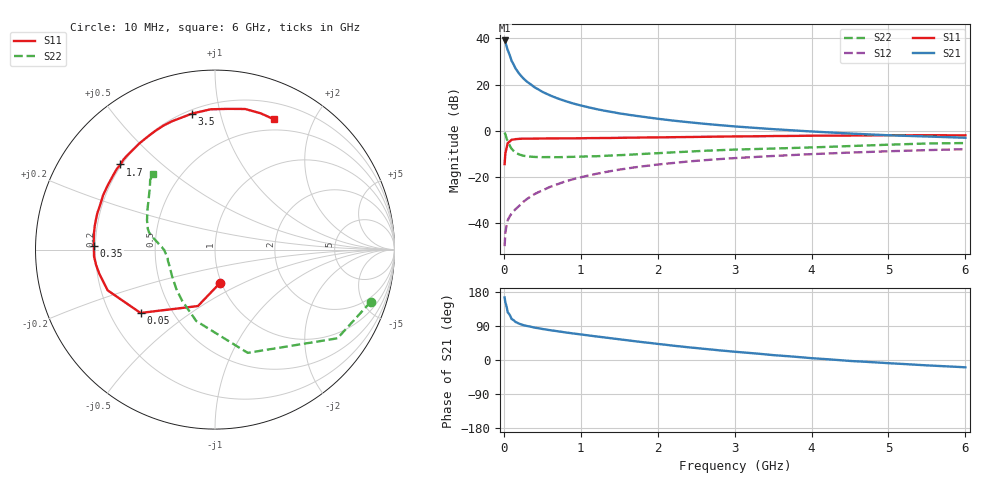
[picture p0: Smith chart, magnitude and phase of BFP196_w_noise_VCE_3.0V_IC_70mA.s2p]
! (c) 2017  Infineon Technologies AG, Munich
! Infineon Technologies  Discrete & RF Semiconductors
! BFP196
! VCE =  3.0 V,  IC =  70 mA
! Common Emitter S-Parameters:  Jan 2017
# GHz  S  MA  R  50
!  f  S11  S21  S12  S22
! GHz  MAG  ANG  MAG  ANG  MAG  ANG  MAG  ANG
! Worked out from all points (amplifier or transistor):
!   77 points, 10 MHz to 6 GHz, reference 50 ohm
!   highest |S21| = 39.0 dB at 10 MHz (marker M1)
!   |S21| within 3 dB of that: start of sweep to 39.58 MHz
!   unconditionally stable (mu >= 1): 449 MHz to 2.497 GHz
!   at 130 MHz: K = 0.72, MSG = 31.6 dB, |S12| = -34.7 dB
!   at 2.2 GHz: K = 1.01, MAG = 8.5 dB, |S12| = -13.9 dB
!   at 6 GHz: K = 0.96, MSG = 2.5 dB, |S12| = -7.9 dB
!   lowest NFmin = 1.68 dB at 450 MHz
!   S11 on the Smith chart (normalised r, x): 10 MHz: 0.98, -0.38; 50 MHz: 0.33, -0.33; 350 MHz: 0.19, +0.02; 1.7 GHz: 0.19, +0.37; 3.5 GHz: 0.22, +0.82; 6 GHz: 0.37, +1.48
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0.01  0.1902 -82.3  89.55 164.9  0.0032 77.5  0.9161 -18.4
0.02  0.3284 -106.8  82.59 151.7  0.0063 72.1  0.8426 -35.9
0.05  0.5447 -139.6  55.67 125.8  0.0116 57.9  0.6036 -72.4
0.1  0.6396 -159.2  32.66 108.3  0.0162 56.9  0.4111 -104.8
0.15  0.6583 -168.1  22.5 100.7  0.02 58.7  0.3385 -122.8
0.2  0.6683 -172.8  17.08 95.8  0.0238 62.8  0.3071 -134.7
0.25  0.6749 -176.8  13.75 92.3  0.0288 64.6  0.2896 -142.6
0.3  0.6746 -179.5  11.5 89.8  0.0334 65.6  0.2806 -148.8
0.35  0.6754 178.2  10.09 87.9  0.0381 67.1  0.2754 -152.7
0.4  0.6773 176.0  8.689 85.4  0.0428 68.2  0.2716 -156.8
0.5  0.6805 172.1  6.955 81.9  0.0513 68.8  0.269 -162.3
0.6  0.6829 168.9  5.824 78.7  0.0611 69.2  0.2696 -166.5
0.8  0.6864 162.8  4.382 72.8  0.0805 68.5  0.2706 -171.9
1.1  0.693 154.2  3.213 64.9  0.1079 65.1  0.2791 -177.4
1.4  0.6992 146.1  2.552 57.2  0.1352 61.3  0.292 178.4
1.7  0.7087 138.0  2.122 49.7  0.1618 57.0  0.3082 175.3
2.1  0.722 127.8  1.738 40.3  0.1935 51.1  0.3343 171.3
3.1  0.7555 106.7  1.208 20.2  0.2617 36.9  0.3957 161.5
3.5  0.7686 99.5  1.084 12.9  0.2851 32.0  0.4127 156.6
4.1  0.7822 90.3  0.945 3.5  0.3172 24.5  0.4423 148.0
5.1  0.8003 76.6  0.789 -9.5  0.3645 12.7  0.5056 135.8
6  0.7967 65.7  0.706 -19.3  0.4005 2.7  0.5429 129.4
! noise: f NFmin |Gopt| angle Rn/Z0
0.45  1.68  0.46  -172  0.06
0.9  1.84  0.5  -159  0.09
1.9  2.66  0.69  -131  0.36
2.4  3.05  0.7  -117  0.79
